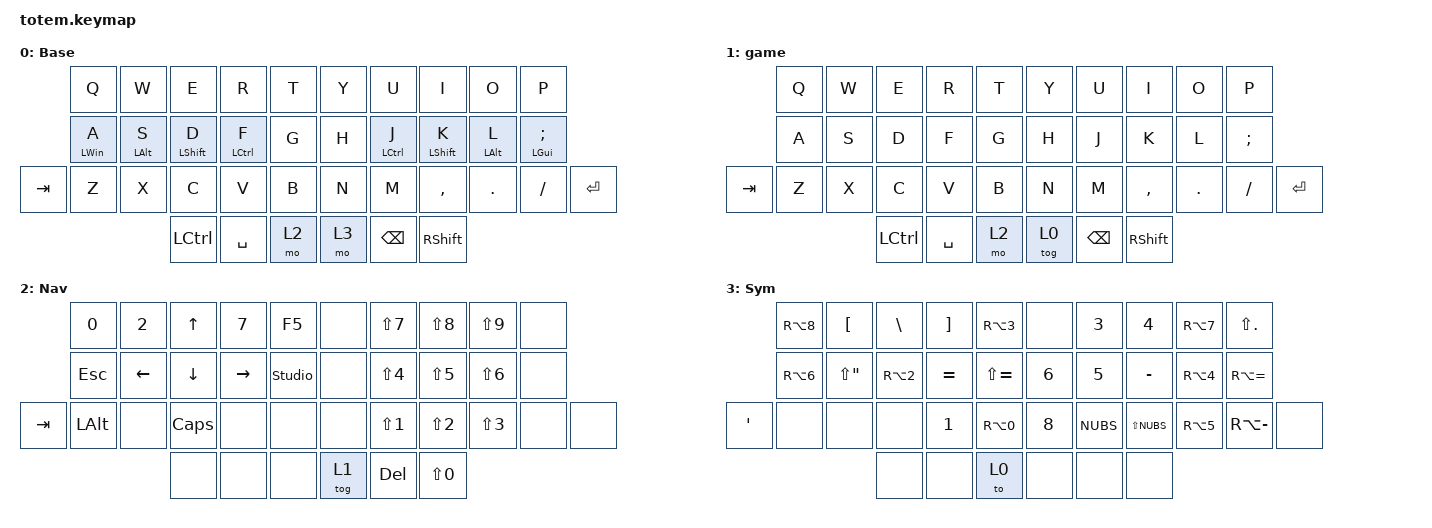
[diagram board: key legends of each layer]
//
//                                                        ▀▀▀▀▀     ▀▀▀▀▀          ▀▀█▀▀
//                                                        ▄▀▀▀▄  ▄  ▄▀▀▀▄  ▄  ▄▀▀▀▄  █  ▄▀▀▀▄
//                                                        █   █  █  █   █  █  █   █  █  █   █
//                                                         ▀▀▀   █   ▀▀▀   █   ▀▀▀   ▀   ▀▀▀
//                                                               █      ▄▄▄█▄▄▄    █   █  
//                                                               ▀      █  █  █     █▄█
//                                                             ▀▀▀▀▀    █  █  █      ▀
//                                                                      ▀  ▀  ▀
//
// ▄▄▄▄▄▄▄▄▄▄▄▄▄▄▄▄▄▄▄▄▄▄▄▄▄▄▄▄▄▄▄▄▄▄▄▄▄▄▄▄▄▄▄▄▄▄▄▄▄▄▄▄▄▄▄▄▄▄▄▄▄▄▄▄▄▄▄▄▄▄▄▄▄▄▄▄▄▄▄▄▄▄▄▄▄▄▄▄▄▄▄▄▄▄▄▄▄▄▄▄▄▄▄▄▄▄▄▄▄▄▄▄▄▄▄▄▄▄▄▄▄▄▄▄▄▄▄▄▄▄▄▄▄▄▄▄▄▄▄▄▄▄▄▄▄▄▄▄▄

#include <behaviors.dtsi>
#include <dt-bindings/zmk/keys.h>

#define Base        0
#define Nav         1
#define Sym         2
#define Fun         3
#define Game        4
#define Gameplus    5

&mt {
    quick-tap-ms = <100>;
    global-quick-tap;
    flavor = "tap-preferred";
    tapping-term-ms = <200>;
};

&lt {
    tapping-term-ms = <240>;
    flavor = "balanced";
    quick-tap-ms = <150>;
};

/ {
    behaviors {
        lp: Long-Press {
            compatible = "zmk,behavior-hold-tap";
            label = "Long Press";
            bindings = <&kp>, <&kp>;

            #binding-cells = <2>;
            tapping-term-ms = <200>;
            flavor = "tap-preferred";
        };
    };

    combos { compatible = "zmk,combos"; };

    keymap {
        compatible = "zmk,keymap";

        Base {
            display-name = "Base";
            bindings = <
         &kp Q           &kp W           &kp E             &kp R        &kp T    &kp Y  &kp U          &kp I             &kp O           &kp P
         &lp LEFT_WIN A  &lp LEFT_ALT S  &lp LEFT_SHIFT D  &lp LCTRL F  &kp G    &kp H  &lp LCTRL J    &lp LEFT_SHIFT K  &lp LEFT_ALT L  &lp LEFT_GUI SEMI
&kp TAB  &kp Z           &kp X           &kp C             &kp V        &kp B    &kp N  &kp M          &kp COMMA         &kp DOT         &kp SLASH          &kp ENTER
                                         &kp LEFT_CONTROL  &kp SPACE    &mo 2    &mo 3  &kp BACKSPACE  &kp RIGHT_SHIFT
            >;
        };

        gaming {
            display-name = "game";
            bindings = <
         &kp Q  &kp W  &kp E             &kp R      &kp T    &kp Y   &kp U          &kp I            &kp O    &kp P
         &kp A  &kp S  &kp D             &kp F      &kp G    &kp H   &kp J          &kp K            &kp L    &kp SEMI
&kp TAB  &kp Z  &kp X  &kp C             &kp V      &kp B    &kp N   &kp M          &kp COMMA        &kp DOT  &kp SLASH  &kp ENTER
                       &kp LEFT_CONTROL  &kp SPACE  &mo 2    &tog 0  &kp BACKSPACE  &kp RIGHT_SHIFT
            >;
        };

        nav {
            display-name = "Nav";
            bindings = <
         &kp NUMBER_0  &kp NUMBER_2  &kp UP_ARROW  &kp NUMBER_7  &kp F5            &none   &kp LS(NUMBER_7)  &kp LS(NUMBER_8)  &kp LS(NUMBER_9)  &none
         &kp ESCAPE    &kp LEFT      &kp DOWN      &kp RIGHT     &studio_unlock    &none   &kp LS(NUMBER_4)  &kp LS(NUMBER_5)  &kp LS(NUMBER_6)  &none
&kp TAB  &kp LEFT_ALT  &none         &kp CAPS      &none         &none             &none   &kp LS(NUMBER_1)  &kp LS(NUMBER_2)  &kp LS(NUMBER_3)  &none  &none
                                     &none         &none         &none             &tog 1  &kp DELETE        &kp LS(NUMBER_0)
            >;
        };

        symbole {
            display-name = "Sym";
            bindings = <
          &kp RA(NUMBER_8)  &kp LEFT_BRACKET       &kp BACKSLASH     &kp RIGHT_BRACKET  &kp RA(NUMBER_3)    &none         &kp NUMBER_3  &kp NUMBER_4  &kp RA(NUMBER_7)  &kp LS(PERIOD)
          &kp RA(NUMBER_6)  &kp LS(DOUBLE_QUOTES)  &kp RA(NUMBER_2)  &kp EQUAL          &kp LS(EQUAL)       &kp NUMBER_6  &kp NUMBER_5  &kp MINUS     &kp RA(NUMBER_4)  &kp RA(EQUAL)
&kp APOS  &none             &none                  &none             &kp NUMBER_1       &kp RA(NUMBER_0)    &kp NUMBER_8  &kp NUBS      &kp LS(NUBS)  &kp RA(NUMBER_5)  &kp RA(MINUS)   &none
                                                   &none             &none              &to 0               &none         &none         &none
            >;
        };
    };
};
